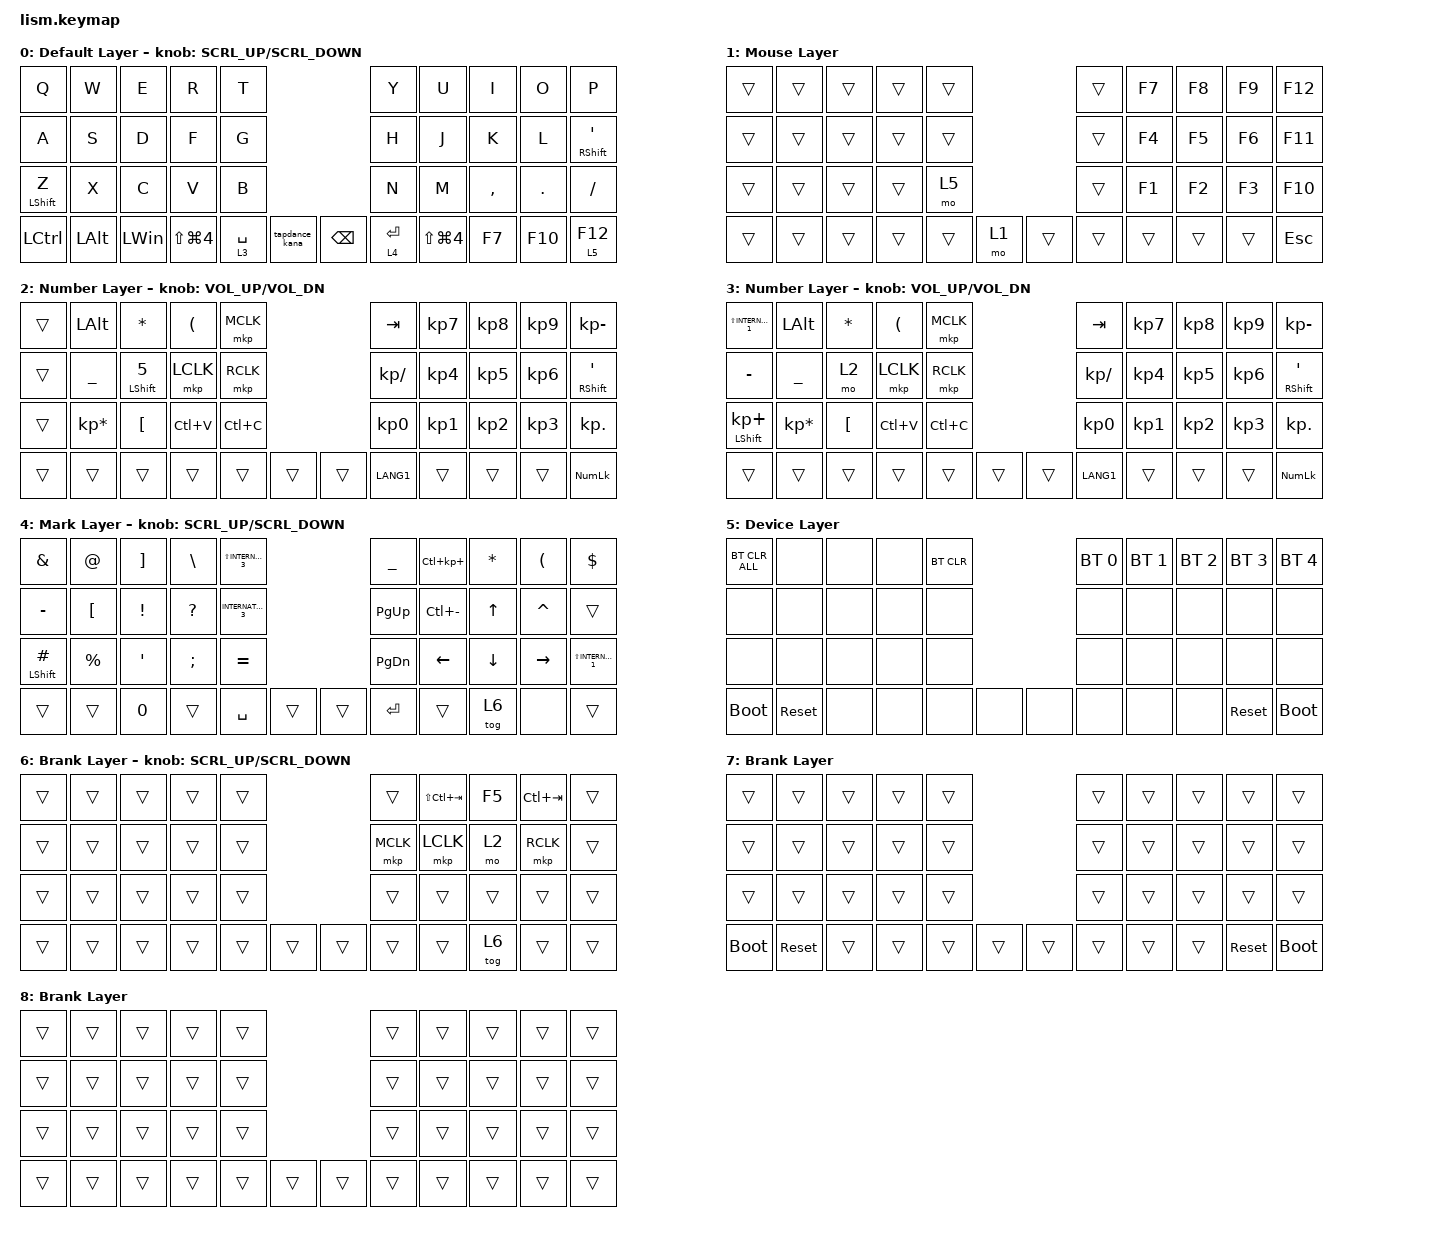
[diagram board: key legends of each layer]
#define ZMK_POINTING_DEFAULT_SCRL_VAL 200

#include <dt-bindings/zmk/mouse.h>
#include <behaviors.dtsi>
#include <dt-bindings/zmk/bt.h>
#include <dt-bindings/zmk/keys.h>
#include <dt-bindings/zmk/pointing.h>

&mt {
    tapping-term-ms = <300>;
    flavor = "balanced";
};

&lt { quick-tap-ms = <300>; };

/ {
    macros {
        emoji: emoji_macro {
            compatible = "zmk,behavior-macro";
            label = "EMOJI";
            #binding-cells = <0>;
            bindings =
                <&macro_press>,
                <&kp CAPSLOCK>,
                <&macro_tap>,
                <&kp E>,
                <&macro_release>,
                <&kp CAPSLOCK>;
        };
    };

    behaviors {
        encoder_msc: sensor_rotate_msc {
            compatible = "zmk,behavior-sensor-rotate-var";
            #sensor-binding-cells = <2>;
            bindings = <&msc>, <&msc>;

            tap-ms = <20>;
        };

        encoder_kp: sensor_rotate_kp {
            compatible = "zmk,behavior-sensor-rotate-var";
            #sensor-binding-cells = <2>;
            bindings = <&kp>, <&kp>;
        };

        tapdance_kana: tapdance_kana {
            compatible = "zmk,behavior-tap-dance";
            label = "TAPDANCE_KANA";
            #binding-cells = <0>;
            bindings = <&kp INTERNATIONAL_2>, <&kp LANGUAGE_2>, <&sl 1>;

            tapping-term-ms = <400>;
        };
    };

    keymap {
        compatible = "zmk,keymap";

        default_layer {
            display-name = "Default Layer";
            bindings = <
&kp Q             &kp W         &kp E         &kp R           &kp T                                         &kp Y        &kp U           &kp I      &kp O    &kp P
&kp A             &kp S         &kp D         &kp F           &kp G                                         &kp H        &kp J           &kp K      &kp L    &mt RIGHT_SHIFT SQT
&mt LEFT_SHIFT Z  &kp X         &kp C         &kp V           &kp B                                         &kp N        &kp M           &kp COMMA  &kp DOT  &kp SLASH
&kp LEFT_CONTROL  &kp LEFT_ALT  &kp LEFT_WIN  &kp LS(LG(N4))  &lt 3 SPACE  &tapdance_kana    &kp BACKSPACE  &lt 4 ENTER  &kp LS(LG(N4))  &kp F7     &kp F10  &lt 5 F12
            >;

            sensor-bindings = <&encoder_msc SCRL_UP SCRL_DOWN>;
        };

        FUNCTION {
            display-name = "Mouse Layer";
            bindings = <
&trans  &trans  &trans  &trans  &trans                   &trans  &kp F7  &kp F8  &kp F9  &kp F12
&trans  &trans  &trans  &trans  &trans                   &trans  &kp F4  &kp F5  &kp F6  &kp F11
&trans  &trans  &trans  &trans  &mo 5                    &trans  &kp F1  &kp F2  &kp F3  &kp F10
&trans  &trans  &trans  &trans  &trans  &mo 1    &trans  &trans  &trans  &trans  &trans  &kp ESCAPE
            >;
        };

        SCROLL {
            display-name = "Number Layer";
            bindings = <
&trans  &kp LEFT_ALT     &kp ASTERISK         &kp LEFT_PARENTHESIS  &mkp MCLK                    &kp TAB          &kp KP_NUMBER_7  &kp KP_NUMBER_8  &kp KP_NUMBER_9  &kp KP_MINUS
&trans  &kp UNDERSCORE   &mt LSHIFT NUMBER_5  &mkp LCLK             &mkp RCLK                    &kp KP_SLASH     &kp KP_NUMBER_4  &kp KP_NUMBER_5  &kp KP_NUMBER_6  &mt RIGHT_SHIFT SQT
&trans  &kp KP_MULTIPLY  &kp LEFT_BRACKET     &kp LC(V)             &kp LC(C)                    &kp KP_NUMBER_0  &kp KP_NUMBER_1  &kp KP_NUMBER_2  &kp KP_NUMBER_3  &kp KP_DOT
&trans  &trans           &trans               &trans                &trans     &trans    &trans  &kp LANG1        &trans           &trans           &trans           &kp KP_NUM
            >;

            sensor-bindings = <&encoder_kp C_VOL_UP C_VOL_DN>;
        };

        NUM {
            display-name = "Number Layer";
            bindings = <
&kp LS(INTERNATIONAL_1)  &kp LEFT_ALT     &kp ASTERISK      &kp LEFT_PARENTHESIS  &mkp MCLK                    &kp TAB          &kp KP_NUMBER_7  &kp KP_NUMBER_8  &kp KP_NUMBER_9  &kp KP_MINUS
&kp MINUS                &kp UNDERSCORE   &mo 2             &mkp LCLK             &mkp RCLK                    &kp KP_SLASH     &kp KP_NUMBER_4  &kp KP_NUMBER_5  &kp KP_NUMBER_6  &mt RIGHT_SHIFT SQT
&mt LEFT_SHIFT KP_PLUS   &kp KP_MULTIPLY  &kp LEFT_BRACKET  &kp LC(V)             &kp LC(C)                    &kp KP_NUMBER_0  &kp KP_NUMBER_1  &kp KP_NUMBER_2  &kp KP_NUMBER_3  &kp KP_DOT
&trans                   &trans           &trans            &trans                &trans     &trans    &trans  &kp LANG1        &trans           &trans           &trans           &kp KP_NUM
            >;

            sensor-bindings = <&encoder_kp C_VOL_UP C_VOL_DN>;
        };

        ARROW {
            display-name = "Mark Layer";
            bindings = <
&kp AMPERSAND        &kp AT_SIGN       &kp RIGHT_BRACKET  &kp BACKSLASH  &kp LS(INTERNATIONAL_3)                    &kp UNDERSCORE  &kp LC(KP_PLUS)  &kp ASTERISK    &kp LEFT_PARENTHESIS  &kp DOLLAR
&kp MINUS            &kp LEFT_BRACKET  &kp EXCLAMATION    &kp QUESTION   &kp INTERNATIONAL_3                        &kp PG_UP       &kp LC(MINUS)    &kp UP_ARROW    &kp CARET             &trans
&mt LEFT_SHIFT HASH  &kp PERCENT       &kp SQT            &kp SEMICOLON  &kp EQUAL                                  &kp PG_DN       &kp LEFT_ARROW   &kp DOWN_ARROW  &kp RIGHT_ARROW       &kp LS(INTERNATIONAL_1)
&trans               &trans            &kp NUMBER_0       &trans         &kp SPACE                &trans    &trans  &kp ENTER       &trans           &tog 6          &none                 &trans
            >;

            sensor-bindings = <&encoder_msc SCRL_UP SCRL_DOWN>;
        };

        Bluetooth {
            display-name = "Device Layer";
            bindings = <
&bt BT_CLR_ALL  &none       &none  &none  &bt BT_CLR                  &bt BT_SEL 0  &bt BT_SEL 1  &bt BT_SEL 2  &bt BT_SEL 3  &bt BT_SEL 4
&none           &none       &none  &none  &none                       &none         &none         &none         &none         &none
&none           &none       &none  &none  &none                       &none         &none         &none         &none         &none
&bootloader     &sys_reset  &none  &none  &none       &none    &none  &none         &none         &none         &sys_reset    &bootloader
            >;
        };

        MOUSE {
            display-name = "Brank Layer";
            bindings = <
&trans  &trans  &trans  &trans  &trans                    &trans     &kp LS(LC(TAB))  &kp F5  &kp LC(TAB)  &trans
&trans  &trans  &trans  &trans  &trans                    &mkp MCLK  &mkp LCLK        &mo 2   &mkp RCLK    &trans
&trans  &trans  &trans  &trans  &trans                    &trans     &trans           &trans  &trans       &trans
&trans  &trans  &trans  &trans  &trans  &trans    &trans  &trans     &trans           &tog 6  &trans       &trans
            >;

            sensor-bindings = <&encoder_msc SCRL_UP SCRL_DOWN>;
        };

        layer_6 {
            display-name = "Brank Layer";
            bindings = <
&trans       &trans      &trans  &trans  &trans                    &trans  &trans  &trans  &trans      &trans
&trans       &trans      &trans  &trans  &trans                    &trans  &trans  &trans  &trans      &trans
&trans       &trans      &trans  &trans  &trans                    &trans  &trans  &trans  &trans      &trans
&bootloader  &sys_reset  &trans  &trans  &trans  &trans    &trans  &trans  &trans  &trans  &sys_reset  &bootloader
            >;
        };

        layer_7 {
            display-name = "Brank Layer";
            bindings = <
&trans  &trans  &trans  &trans  &trans                    &trans  &trans  &trans  &trans  &trans
&trans  &trans  &trans  &trans  &trans                    &trans  &trans  &trans  &trans  &trans
&trans  &trans  &trans  &trans  &trans                    &trans  &trans  &trans  &trans  &trans
&trans  &trans  &trans  &trans  &trans  &trans    &trans  &trans  &trans  &trans  &trans  &trans
            >;
        };
    };
};
